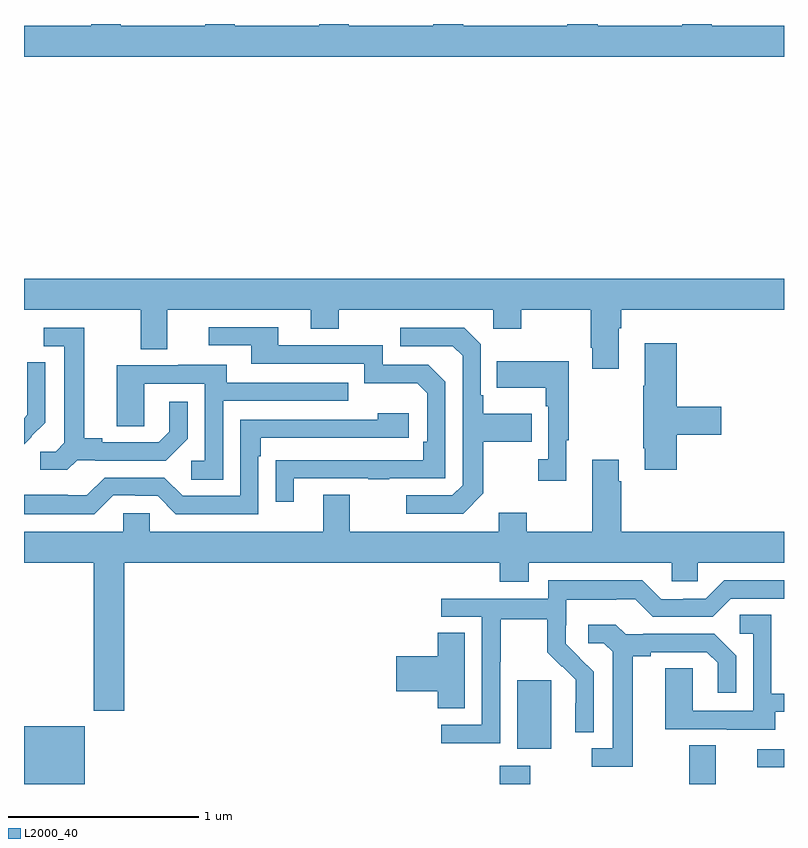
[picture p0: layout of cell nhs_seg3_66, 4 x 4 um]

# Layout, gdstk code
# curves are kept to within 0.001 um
import gdstk
lib = gdstk.Library(unit=1e-6, precision=1e-09)
def R(c, l, rs):  # rectangles x0, y0, x1, y1
    for r in rs: c.add(gdstk.rectangle(r[:2], r[2:], *l))
def P(c, l, *ps):  # polygons
    for p in ps: c.add(gdstk.Polygon(p, *l))
L2000_40 = (2000, 40)

nhs_seg3_66 = lib.new_cell('nhs_seg3_66')
R(nhs_seg3_66, L2000_40, [(113,718.4,113.32,718.705), (115.505,718.4,115.665,718.495), (116.501,718.4,116.641,718.604), (116.859,718.488,117,718.584), (115.595,718.586,115.774,718.947)])
P(nhs_seg3_66, L2000_40, [(117,722.392),(116.619,722.392),(116.619,722.4),(116.464,722.4),(116.464,722.392),(116.019,722.392),(116.019,722.4),(115.859,722.4),(115.859,722.392),(115.313,722.392),(115.313,722.4),(115.153,722.4),(115.153,722.392),(114.708,722.392),(114.708,722.4),(114.553,722.4),(114.553,722.392),(114.108,722.392),(114.108,722.4),(113.953,722.4),(113.953,722.392),(113.508,722.392),(113.508,722.4),(113.353,722.4),(113.353,722.392),(113,722.392),(113,722.228),(117,722.228)],
  [(116.131,720.8),(116.144,720.8),(116.144,720.896),(117,720.896),(117,721.06),(113,721.06),(113,720.896),(113.615,720.896),(113.615,720.688),(113.755,720.688),(113.755,720.896),(114.509,720.896),(114.509,720.797),(114.657,720.797),(114.657,720.896),(115.47,720.896),(115.47,720.797),(115.617,720.797),(115.617,720.896),(115.984,720.896),(115.984,720.697),(115.991,720.697),(115.991,720.585),(116.131,720.585)],
  [(114.421,720.009),(114.811,720.009),(114.811,720.004),(114.923,720.004),(114.923,720.009),(115.218,720.009),(115.218,720.516),(115.128,720.606),(114.888,720.606),(114.888,720.708),(114.337,720.708),(114.337,720.804),(113.973,720.804),(113.973,720.708),(114.197,720.708),(114.197,720.612),(114.792,720.612),(114.792,720.509),(115.069,720.509),(115.122,720.456),(115.122,720.202),(115.102,720.202),(115.102,720.105),(114.325,720.104),(114.325,719.886),(114.421,719.886)],
  [(113.28,720.105),(113.374,720.105),(113.374,720.102),(113.746,720.102),(113.862,720.218),(113.862,720.412),(113.765,720.412),(113.765,720.255),(113.708,720.198),(113.413,720.198),(113.413,720.221),(113.317,720.221),(113.317,720.801),(113.103,720.801),(113.103,720.705),(113.213,720.705),(113.213,720.197),(113.166,720.15),(113.085,720.15),(113.085,720.053),(113.228,720.053)],
  [(115.417,719.929),(115.417,720.202),(115.673,720.202),(115.673,720.349),(115.417,720.349),(115.417,720.445),(115.404,720.445),(115.404,720.714),(115.317,720.801),(114.981,720.801),(114.981,720.705),(115.257,720.705),(115.308,720.654),(115.308,719.973),(115.254,719.919),(115.011,719.919),(115.011,719.823),(115.311,719.823)],
  [(116.435,720.239),(116.671,720.239),(116.671,720.386),(116.435,720.386),(116.435,720.721),(116.267,720.721),(116.267,720.497),(116.26,720.497),(116.26,720.166),(116.267,720.166),(116.267,720.054),(116.435,720.054)],
  [(115.855,720.209),(115.867,720.209),(115.867,720.625),(115.489,720.625),(115.489,720.485),(115.746,720.485),(115.746,720.389),(115.758,720.389),(115.758,720.11),(115.707,720.11),(115.707,719.997),(115.855,719.997)],
  [(113.04,720.228),(113.039,720.229),(113.112,720.302),(113.112,720.62),(113.016,720.62),(113.016,720.466),(113.018,720.466),(113.018,720.344),(113,720.326),(113,720.188)],
  [(114.048,720.417),(114.707,720.417),(114.707,720.513),(114.067,720.513),(114.067,720.607),(113.813,720.607),(113.813,720.603),(113.489,720.603),(113.489,720.283),(113.634,720.283),(113.634,720.507),(113.952,720.507),(113.952,720.102),(113.88,720.102),(113.88,720.001),(114.048,720.001)],
  [(113.469,719.919),(113.585,719.919),(113.585,719.916),(113.703,719.916),(113.799,719.82),(114.234,719.82),(114.234,720.125),(114.247,720.125),(114.247,720.222),(115.024,720.222),(115.024,720.352),(114.863,720.352),(114.863,720.318),(114.138,720.318),(114.138,719.916),(113.835,719.916),(113.739,720.012),(113.424,720.012),(113.331,719.919),(113.231,719.919),(113.231,719.923),(113,719.923),(113,719.819),(113.369,719.819)],
  [(113.528,719.564),(115.505,719.564),(115.505,719.465),(115.657,719.465),(115.657,719.564),(116.409,719.564),(116.409,719.466),(116.547,719.466),(116.547,719.564),(117,719.564),(117,719.728),(116.144,719.728),(116.144,719.993),(116.131,719.993),(116.131,720.106),(115.991,720.106),(115.991,719.728),(115.647,719.728),(115.647,719.827),(115.499,719.827),(115.499,719.728),(114.715,719.728),(114.715,719.923),(114.575,719.923),(114.575,719.728),(113.661,719.728),(113.661,719.826),(113.523,719.826),(113.523,719.728),(113,719.728),(113,719.564),(113.368,719.564),(113.368,718.785),(113.528,718.785)],
  [(115.506,719.044),(115.509,719.044),(115.509,719.268),(115.753,719.268),(115.753,719.093),(115.83,719.016),(115.833,719.019),(115.904,718.949),(115.904,718.826),(115.902,718.826),(115.902,718.672),(115.998,718.672),(115.998,718.99),(115.852,719.138),(115.852,719.235),(115.854,719.235),(115.854,719.369),(116.117,719.369),(116.117,719.373),(116.217,719.373),(116.31,719.28),(116.625,719.28),(116.721,719.376),(117,719.376),(117,719.472),(116.685,719.472),(116.589,719.376),(116.471,719.376),(116.471,719.373),(116.355,719.373),(116.255,719.473),(115.758,719.473),(115.758,719.376),(115.197,719.376),(115.197,719.28),(115.41,719.28),(115.41,718.713),(115.197,718.713),(115.197,718.615),(115.506,718.615)],
  [(116.953,718.779),(117,718.779),(117,718.875),(116.934,718.875),(116.934,719.291),(116.766,719.291),(116.766,719.19),(116.838,719.19),(116.838,718.785),(116.52,718.785),(116.52,719.009),(116.375,719.009),(116.375,718.689),(116.699,718.689),(116.699,718.685),(116.953,718.685)],
  [(116.203,719.072),(116.299,719.072),(116.299,719.094),(116.594,719.094),(116.651,719.037),(116.651,718.881),(116.748,718.881),(116.748,719.074),(116.632,719.19),(116.26,719.19),(116.26,719.187),(116.166,719.187),(116.114,719.239),(115.971,719.239),(115.971,719.142),(116.052,719.142),(116.099,719.095),(116.099,718.587),(115.989,718.587),(115.989,718.491),(116.203,718.491)],
  [(115.321,719.195),(115.178,719.195),(115.178,719.072),(114.96,719.072),(114.96,718.889),(115.178,718.889),(115.178,718.798),(115.321,718.798)])

lib.write_gds('nhs_seg3_66.gds')
